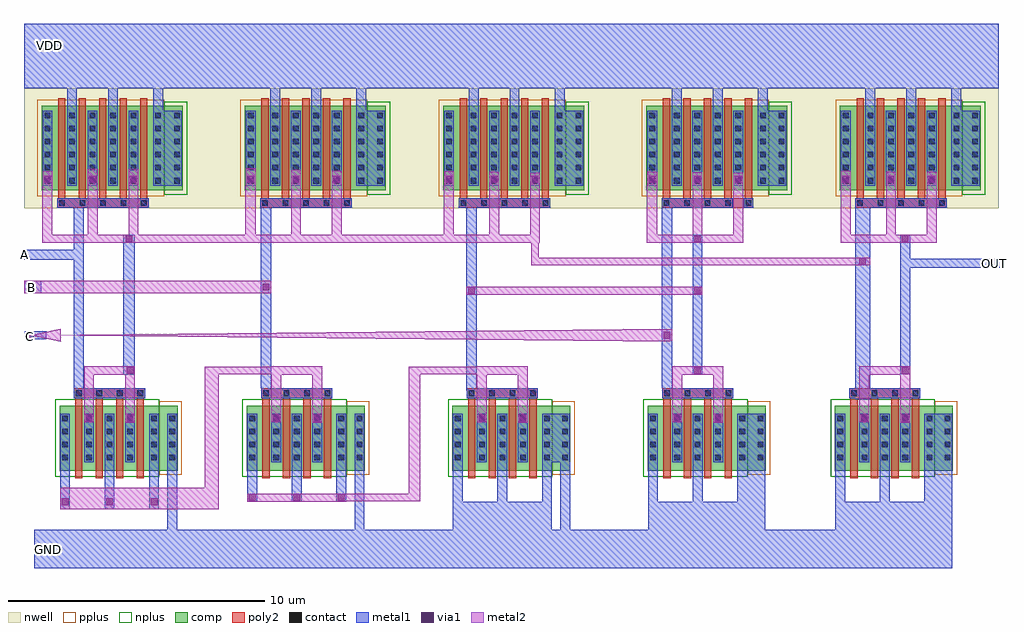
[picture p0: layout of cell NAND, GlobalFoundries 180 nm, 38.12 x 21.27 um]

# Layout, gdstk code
import gdstk
lib = gdstk.Library(unit=1e-6, precision=5e-09)
def R(c, l, rs):  # rectangles x0, y0, x1, y1
    for r in rs: c.add(gdstk.rectangle(r[:2], r[2:], *l))
def A(c, l, x, y, w, h, nx, ny, dx, dy):  # array of equal rectangles
    R(c, l, [(x+i*dx, y+j*dy, x+i*dx+w, y+j*dy+h) for i in range(nx) for j in range(ny)])
nwell = (21, 0)
comp = (22, 0)
poly2 = (30, 0)
pplus = (31, 0)
nplus = (32, 0)
contact = (33, 0)
metal1 = (34, 0)
via1 = (35, 0)
metal2 = (36, 0)

nfet = lib.new_cell('nfet')
R(nfet, comp, [(-0.42,0,0,2.54), (0,0,3.06,2.54), (3.06,0,3.48,2.54), (3.48,0,4.19,2.54)])
A(nfet, poly2, 0.19, -0.3, 0.28, 3.14, 4, 1, 0.8, 0)
A(nfet, poly2, 0.15, 2.84, 0.36, 0.36, 4, 1, 0.8, 0)
R(nfet, pplus, [(3.48,-0.17,4.36,2.71)])
R(nfet, nplus, [(-0.59,-0.24,3.48,2.78)])
A(nfet, contact, -0.32, 0.395, 0.22, 0.22, 1, 4, 0, 0.51)
A(nfet, contact, 0.62, 0.395, 0.22, 0.22, 3, 4, 0.8, 0.51)
A(nfet, contact, 3.16, 0.395, 0.22, 0.22, 1, 4, 0, 0.51)
A(nfet, contact, 3.87, 0.395, 0.22, 0.22, 1, 4, 0, 0.51)
A(nfet, contact, 0.22, 2.91, 0.22, 0.22, 4, 1, 0.8, 0)
A(nfet, metal1, 0.54, 0.315, 0.38, 1.91, 3, 1, 0.8, 0)
A(nfet, metal1, 0.14, 2.83, 0.38, 0.38, 4, 1, 0.8, 0)
R(nfet, metal1, [(-0.4,0.315,-0.02,2.225), (3.08,0.315,3.46,2.225), (3.79,0.315,4.17,2.225)])

pfet = lib.new_cell('pfet')
R(pfet, nwell, [(-1.15,-0.69,5.74,3.99)])
R(pfet, comp, [(-0.46,0,0,3.3), (0,0,3.86,3.3), (3.86,0,4.32,3.3), (4.32,0,5.05,3.3)])
A(pfet, poly2, 0.14, -0.68, 0.38, 0.38, 5, 1, 0.8, 0)
A(pfet, poly2, 0.19, -0.3, 0.28, 3.9, 5, 1, 0.8, 0)
R(pfet, pplus, [(-0.63,-0.24,4.32,3.54)])
R(pfet, nplus, [(4.32,-0.17,5.22,3.47)])
A(pfet, contact, 0.22, -0.6, 0.22, 0.22, 5, 1, 0.8, 0)
A(pfet, contact, -0.34, 0.265, 0.22, 0.22, 1, 6, 0, 0.51)
A(pfet, contact, 0.62, 0.265, 0.22, 0.22, 4, 6, 0.8, 0.51)
A(pfet, contact, 3.98, 0.265, 0.22, 0.22, 1, 6, 0, 0.51)
A(pfet, contact, 4.71, 0.265, 0.22, 0.22, 1, 6, 0, 0.51)
A(pfet, metal1, 0.14, -0.68, 0.38, 0.38, 5, 1, 0.8, 0)
A(pfet, metal1, 0.54, 0.185, 0.38, 2.93, 4, 1, 0.8, 0)
R(pfet, metal1, [(-0.42,0.185,-0.04,3.115), (3.9,0.185,4.28,3.115), (4.63,0.185,5.01,3.115)])

nand = lib.new_cell('NAND')
R(nand, nwell, [(-12.385,3.94,-11.315,8.62), (-4.63,3.94,-3.46,8.62), (2.99,3.94,4.645,8.62), (10.89,3.94,12.225,8.62)])
R(nand, poly2, [(-17.325,-3.485,-14.545,-3.105), (-10.01,-3.485,-7.23,-3.105), (-1.98,-3.485,0.8,-3.105), (5.65,-3.485,8.43,-3.105), (12.96,-3.485,15.74,-3.105), (-17.985,3.95,-14.405,4.33), (-10.05,3.95,-6.47,4.33), (-2.3,3.95,1.28,4.33), (5.635,3.95,9.215,4.33), (13.195,3.95,16.775,4.33)])
A(nand, metal1, -10.55, -7.53, 0.38, 1.53, 3, 1, 1.74, 0)
A(nand, metal1, -2.52, -7.53, 0.38, 1.53, 3, 1, 1.74, 0)
A(nand, metal1, 5.11, -7.53, 0.38, 1.53, 3, 1, 1.74, 0)
A(nand, metal1, 12.42, -7.53, 0.38, 1.53, 3, 1, 1.74, 0)
R(nand, metal1, [(-18.865,-10.13,16.28,-8.62), (16.28,-10.13,16.99,-6), (-6.36,-9.6,-5.98,-5.36), (8.78,-9.095,9.68,-6), (-2.52,-8.795,1.34,-7.53), (-13.675,-8.68,-13.295,-4.65), (1.67,-8.62,2.065,-8.53), (5.11,-8.62,9,-8.53), (12.42,-8.62,16.28,-7.53), (1.67,-8.53,2.06,-6), (5.11,-8.53,9,-7.53), (-17.865,-7.83,-17.485,-6), (-16.125,-7.83,-15.745,-5.89), (-14.385,-7.83,-14.005,-5.86), (0.96,-6,2.05,-4.09), (8.59,-6,9.68,-4.09), (15.9,-6,16.99,-4.09), (13.195,-3.535,13.79,4.33), (-17.325,-3.485,-14.545,-3.105), (-10.01,-3.485,-7.23,-3.105), (-1.98,-3.485,0.8,-3.105), (5.65,-3.485,8.43,-3.105), (12.96,-3.485,15.74,-3.105), (-15.4,-2.575,-14.95,-2.245), (6.84,-2.575,7.225,2.89), (14.96,-2.56,15.34,2.89), (-15.4,-2.245,-14.945,2.89), (-19.255,-1.18,-18.415,-0.88), (-19.275,0.61,-18.6,1.09), (14.96,1.615,18.85,1.95), (-17.985,3.95,-14.405,4.33), (-10.05,3.95,-6.47,4.33), (-2.3,3.95,1.28,4.33), (5.635,3.95,8.415,4.33), (13.195,3.95,16.775,4.33), (-14.225,4.815,-13.115,7.745), (-6.29,4.815,-5.18,7.745), (1.46,4.815,2.57,7.745), (9.395,4.815,10.505,7.745), (16.955,4.815,18.065,7.745), (-17.585,7.745,-17.205,9.435), (-15.985,7.745,-15.605,9.435), (-14.225,7.745,-13.845,9.435), (-9.65,7.745,-9.27,9.435), (-8.05,7.745,-7.67,9.435), (-6.29,7.745,-5.91,9.435), (-1.9,7.745,-1.52,9.435), (-0.3,7.745,0.08,9.435), (1.46,7.745,1.84,9.435), (6.035,7.745,6.415,9.435), (7.635,7.745,8.015,9.435), (9.395,7.745,9.775,9.435), (13.595,7.745,13.975,9.435), (15.195,7.745,15.575,9.435), (16.955,7.745,17.335,9.435), (-19.275,8.62,18.795,11.135)])
R(nand, via1, [(-17.795,-7.665,-17.535,-7.405), (-16.07,-7.665,-15.81,-7.405), (-14.315,-7.665,-14.055,-7.405), (-10.49,-7.505,-10.23,-7.245), (-10.49,-7.505,-10.23,-7.245), (-8.75,-7.505,-8.49,-7.245), (-8.75,-7.505,-8.49,-7.245), (-7.01,-7.505,-6.75,-7.245), (-7.01,-7.505,-6.75,-7.245), (-15.265,-4.405,-15.005,-4.145), (-7.95,-4.405,-7.69,-4.145), (0.08,-4.405,0.34,-4.145), (7.71,-4.405,7.97,-4.145), (15.02,-4.405,15.28,-4.145), (-16.865,-4.385,-16.605,-4.125), (-9.55,-4.385,-9.29,-4.125), (-1.52,-4.385,-1.26,-4.125), (6.11,-4.385,6.37,-4.125), (13.42,-4.385,13.68,-4.125), (6.905,-2.545,7.165,-2.285), (15.02,-2.545,15.28,-2.285), (-15.255,-2.54,-14.995,-2.28), (-19.155,-1.16,-18.895,-0.9), (5.71,-1.16,5.97,-0.9), (-1.92,0.575,-1.66,0.835), (6.9,0.575,7.16,0.835), (-19.1,0.72,-18.84,0.98), (-9.95,0.72,-9.69,0.98), (13.355,1.72,13.615,1.98), (-15.31,2.6,-15.05,2.86), (6.9,2.6,7.16,2.86), (15.01,2.61,15.27,2.87), (-18.485,4.935,-18.225,5.195), (-16.72,4.935,-16.46,5.195), (-15.125,4.935,-14.865,5.195), (-10.55,4.935,-10.29,5.195), (-8.785,4.935,-8.525,5.195), (-7.19,4.935,-6.93,5.195), (-2.8,4.935,-2.54,5.195), (-1.035,4.935,-0.775,5.195), (0.56,4.935,0.82,5.195), (5.135,4.935,5.395,5.195), (6.9,4.935,7.16,5.195), (8.495,4.935,8.755,5.195), (12.695,4.935,12.955,5.195), (14.46,4.935,14.72,5.195), (16.055,4.935,16.315,5.195)])
R(nand, metal2, [(-17.865,-7.83,-11.675,-6.98), (-10.55,-7.53,-6.69,-7.215), (-12.205,-7.525,-11.675,-2.26), (-4.24,-7.52,-3.79,-2.26), (-15.325,-4.455,-14.945,-2.245), (-8.01,-4.455,-7.63,-2.245), (0.02,-4.455,0.4,-2.245), (7.65,-4.455,8.03,-2.245), (14.96,-4.455,15.34,-2.245), (-16.925,-4.42,-16.545,-2.245), (-9.61,-4.42,-9.23,-2.245), (-1.58,-4.42,-1.2,-2.245), (6.05,-4.42,6.43,-2.245), (13.36,-4.42,13.74,-2.245), (-16.925,-2.575,-14.945,-2.245), (-15.4,-2.575,-14.945,-2.245), (-9.61,-2.575,-7.63,-2.245), (-1.58,-2.575,0.4,-2.245), (6.05,-2.575,8.03,-2.245), (13.36,-2.575,15.34,-2.245), (6.84,0.555,7.225,0.855), (-19.275,0.61,-9.62,1.09), (-18.56,2.575,-18.165,4.815), (-18.56,2.575,-14.82,2.89), (-16.78,2.575,-16.4,4.815), (-15.185,2.575,-14.805,4.815), (-14.82,2.575,0.865,2.89), (-10.625,2.575,-10.23,4.815), (-10.625,2.575,-6.885,2.89), (-8.845,2.575,-8.465,4.815), (-7.25,2.575,-6.87,4.815), (-2.875,2.575,-2.48,4.815), (-2.875,2.575,0.865,2.89), (-1.095,2.575,-0.715,4.815), (0.5,2.575,0.88,4.815), (5.06,2.575,5.455,4.815), (5.06,2.575,8.8,2.89), (6.84,2.575,7.22,4.815), (8.435,2.575,8.815,4.815), (12.62,2.575,13.015,4.815), (12.62,2.575,16.36,2.89), (14.4,2.575,14.78,4.815), (15.995,2.575,16.375,4.815), (-18.545,4.535,-18.165,5.375), (-16.785,4.54,-16.4,5.475), (-7.25,4.63,-6.87,5.39), (-15.185,4.655,-14.805,5.47), (-8.85,4.665,-8.465,5.425), (-10.61,4.675,-10.23,5.485), (-2.86,4.68,-2.48,5.37), (5.075,4.72,5.455,5.365), (6.835,4.73,7.22,5.335), (-1.1,4.735,-0.715,5.355), (0.5,4.75,0.88,5.32), (14.4,4.79,14.775,5.355), (8.435,4.8,8.815,5.315), (12.62,4.815,13.015,5.395), (15.995,4.815,16.375,5.365)])
nand.add(gdstk.FlexPath([(-17.135,2.11),(-19.275,2.11)], 0.4, ends="flush", simple_path=True, layer=34, datatype=0))  # metal1
nand.add(gdstk.FlexPath([(-17.135,-3.115),(-17.135,4.25)], 0.4, ends="flush", simple_path=True, layer=34, datatype=0))  # metal1
nand.add(gdstk.FlexPath([(-9.82,-3.105),(-9.82,4.14)], 0.4, ends="flush", simple_path=True, layer=34, datatype=0))  # metal1
nand.add(gdstk.FlexPath([(-1.79,-3.185),(-1.79,3.95),(-1.79,4.225)], 0.4, ends="flush", simple_path=True, layer=34, datatype=0))  # metal1
nand.add(gdstk.FlexPath([(5.84,-3.105),(5.84,4.33)], 0.4, ends="flush", simple_path=True, layer=34, datatype=0))  # metal1
nand.add(gdstk.FlexPath([(6.04,-1.03),(-19.025,-1.03),(-17.835,-1.03)], 0.5, ends="flush", simple_path=True, layer=36, datatype=0))  # metal2
nand.add(gdstk.FlexPath([(-9.61,-2.41),(-12.205,-2.41)], 0.3, ends="flush", simple_path=True, layer=36, datatype=0))  # metal2
nand.add(gdstk.FlexPath([(-6.69,-7.37),(-3.79,-7.37)], 0.3, ends="flush", simple_path=True, layer=36, datatype=0))  # metal2
nand.add(gdstk.FlexPath([(-1.58,-2.41),(-4.24,-2.41)], 0.3, ends="flush", simple_path=True, layer=36, datatype=0))  # metal2
nand.add(gdstk.FlexPath([(0.69,2.575),(0.69,1.85),(13.79,1.85)], 0.3, ends="flush", simple_path=True, layer=36, datatype=0))  # metal2
nand.add(gdstk.FlexPath([(6.84,0.705),(-1.99,0.705),(-1.99,0.705)], 0.3, ends="flush", simple_path=True, layer=36, datatype=0))  # metal2
nand.add(gdstk.Reference(nfet, (12.82,-6.315)))
nand.add(gdstk.Reference(pfet, (-2.44,4.63)))
nand.add(gdstk.Reference(pfet, (13.055,4.63)))
nand.add(gdstk.Reference(pfet, (-18.125,4.63)))
nand.add(gdstk.Reference(pfet, (-10.19,4.63)))
nand.add(gdstk.Reference(pfet, (5.495,4.63)))
nand.add(gdstk.Reference(nfet, (-17.465,-6.315)))
nand.add(gdstk.Reference(nfet, (-2.12,-6.315)))
nand.add(gdstk.Reference(nfet, (5.51,-6.315)))
nand.add(gdstk.Reference(nfet, (-10.15,-6.315)))
nand.add(gdstk.Label('A', (-19.25,2.13), layer=34, texttype=10))
nand.add(gdstk.Label('GND', (-18.31,-9.4), layer=34, texttype=10))
nand.add(gdstk.Label('OUT', (18.63,1.775), layer=34, texttype=10))
nand.add(gdstk.Label('VDD', (-18.265,10.3), layer=34, texttype=10))
nand.add(gdstk.Label('B', (-18.97,0.84), layer=34, texttype=10))
nand.add(gdstk.Label('C', (-19.055,-1.07), layer=34, texttype=10))
nand.add(gdstk.Label('GND', (-18.31,-9.4), layer=34, texttype=10))
nand.add(gdstk.Label('VDD', (-18.265,10.3), layer=34, texttype=10))

lib.write_gds('NAND.gds')
